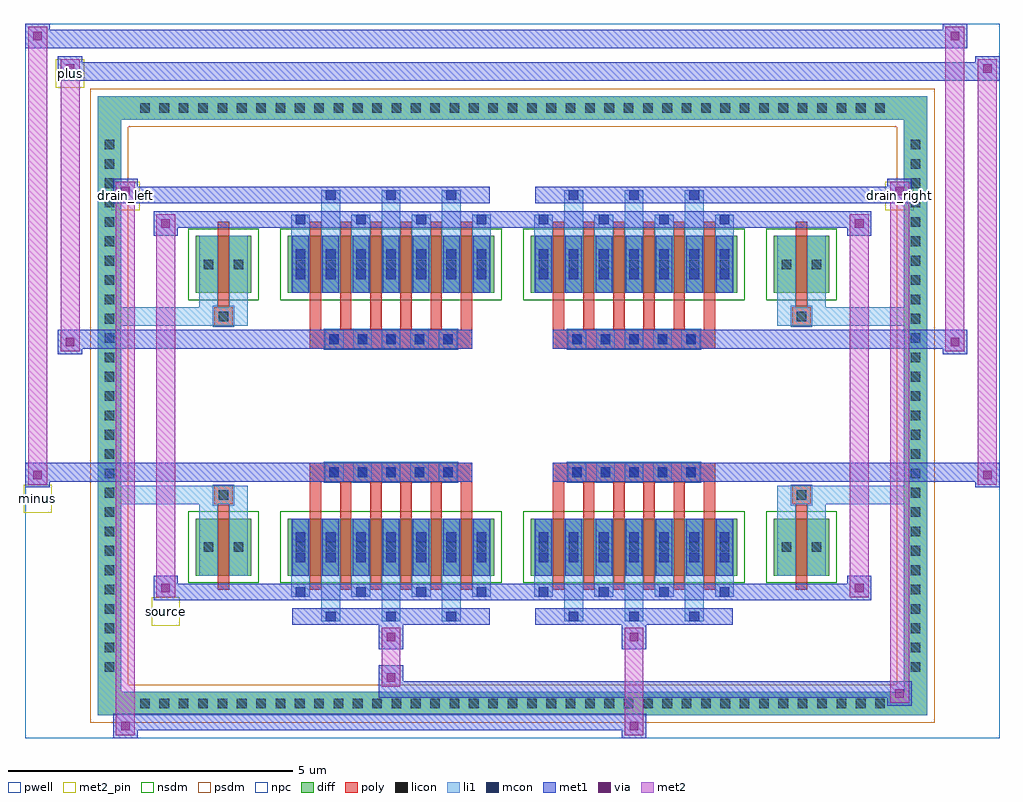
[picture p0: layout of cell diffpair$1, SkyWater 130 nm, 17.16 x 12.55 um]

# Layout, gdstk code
import gdstk
lib = gdstk.Library(unit=1e-6, precision=5e-09)
def R(c, l, rs):  # rectangles x0, y0, x1, y1
    for r in rs: c.add(gdstk.rectangle(r[:2], r[2:], *l))
def A(c, l, x, y, w, h, nx, ny, dx, dy):  # array of equal rectangles
    R(c, l, [(x+i*dx, y+j*dy, x+i*dx+w, y+j*dy+h) for i in range(nx) for j in range(ny)])
def P(c, l, *ps):  # polygons
    for p in ps: c.add(gdstk.Polygon(p, *l))
pwell = (64, 44)
diff = (65, 20)
poly = (66, 20)
licon = (66, 44)
li1 = (67, 20)
mcon = (67, 44)
met1 = (68, 20)
via = (68, 44)
met2_pin = (69, 16)
met2 = (69, 20)
nsdm = (93, 44)
psdm = (94, 20)
npc = (95, 20)

diffpair_1 = lib.new_cell('diffpair$1')
R(diffpair_1, pwell, [(-8.56,-5.84,8.56,6.71), (-5.88,-4.03,-0.01,-0.805), (0.01,-4.03,5.88,-0.805), (-5.88,0.805,-0.01,4.03), (0.01,0.805,5.88,4.03)])
A(diffpair_1, diff, -6.665, -5.44, 0.41, 0.41, 39, 2, 0.34, 10.47)
A(diffpair_1, diff, -7.29, -4.795, 0.41, 0.41, 1, 28, 0, 0.34)
A(diffpair_1, diff, 6.88, -4.795, 0.41, 0.41, 1, 28, 0, 0.34)
R(diffpair_1, diff, [(-6.665,-5.44,6.665,-5.03), (-7.29,-4.795,-6.88,4.795), (6.88,-4.795,7.29,4.795), (-5.57,-2.985,-4.59,-1.985), (-3.95,-2.985,-0.32,-1.985), (0.32,-2.985,3.95,-1.985), (4.59,-2.985,5.57,-1.985), (-5.57,1.985,-4.59,2.985), (-3.95,1.985,-0.32,2.985), (0.32,1.985,3.95,2.985), (4.59,1.985,5.57,2.985), (-6.665,5.03,6.665,5.44)])
P(diffpair_1, diff, [(7.29,5.44),(-7.29,5.44),(-7.29,-5.03),(-6.88,-5.03),(-6.88,5.03),(6.88,5.03),(6.88,-5.03),(-6.88,-5.03),(-7.29,-5.03),(-7.29,-5.44),(7.29,-5.44)])
A(diffpair_1, poly, -3.56, -3.235, 0.2, 1.5, 6, 2, 0.53, 4.97)
A(diffpair_1, poly, 0.71, -3.235, 0.2, 1.5, 6, 2, 0.53, 4.97)
A(diffpair_1, poly, -3.56, -1.735, 0.2, 0.4, 6, 2, 0.53, 3.07)
A(diffpair_1, poly, 0.71, -1.735, 0.2, 0.4, 6, 2, 0.53, 3.07)
A(diffpair_1, poly, -3.3, -1.335, 0.33, 0.33, 5, 2, 0.5, 2.34)
A(diffpair_1, poly, 0.97, -1.335, 0.33, 0.33, 5, 2, 0.5, 2.34)
R(diffpair_1, poly, [(-5.18,-3.235,-4.98,-1.735), (4.98,-3.235,5.18,-1.735), (-5.245,-1.735,-4.915,-1.405), (-5.245,-1.735,-4.915,-1.405), (4.915,-1.735,5.245,-1.405), (4.915,-1.735,5.245,-1.405), (-3.56,-1.335,-0.71,-1.005), (0.71,-1.335,3.56,-1.005), (-3.56,1.005,-0.71,1.335), (0.71,1.005,3.56,1.335), (-5.245,1.405,-4.915,1.735), (-5.245,1.405,-4.915,1.735), (4.915,1.405,5.245,1.735), (4.915,1.405,5.245,1.735), (-5.18,1.735,-4.98,3.235), (4.98,1.735,5.18,3.235)])
A(diffpair_1, licon, -6.545, -5.32, 0.17, 0.17, 39, 2, 0.34, 10.47)
A(diffpair_1, licon, -7.17, -4.675, 0.17, 0.17, 1, 28, 0, 0.34)
A(diffpair_1, licon, 7, -4.675, 0.17, 0.17, 1, 28, 0, 0.34)
A(diffpair_1, licon, -3.81, -2.57, 0.17, 0.17, 7, 2, 0.53, 4.97)
A(diffpair_1, licon, 0.46, -2.57, 0.17, 0.17, 7, 2, 0.53, 4.97)
A(diffpair_1, licon, -3.22, -1.255, 0.17, 0.17, 5, 2, 0.5, 2.34)
A(diffpair_1, licon, 1.05, -1.255, 0.17, 0.17, 5, 2, 0.5, 2.34)
R(diffpair_1, licon, [(-5.43,-2.57,-5.26,-2.4), (-4.9,-2.57,-4.73,-2.4), (4.73,-2.57,4.9,-2.4), (5.26,-2.57,5.43,-2.4), (-5.165,-1.655,-4.995,-1.485), (4.995,-1.655,5.165,-1.485), (-5.165,1.485,-4.995,1.655), (4.995,1.485,5.165,1.655), (-5.43,2.4,-5.26,2.57), (-4.9,2.4,-4.73,2.57), (4.73,2.4,4.9,2.57), (5.26,2.4,5.43,2.57)])
A(diffpair_1, li1, -6.625, -5.4, 0.33, 0.33, 39, 2, 0.34, 10.47)
A(diffpair_1, li1, -7.25, -4.755, 0.33, 0.33, 1, 28, 0, 0.34)
A(diffpair_1, li1, 6.92, -4.755, 0.33, 0.33, 1, 28, 0, 0.34)
A(diffpair_1, li1, -3.36, -3.79, 0.33, 0.805, 3, 2, 1.06, 6.775)
A(diffpair_1, li1, -3.28, -3.79, 0.17, 0.17, 3, 2, 1.06, 7.41)
A(diffpair_1, li1, 0.91, -3.79, 0.33, 0.805, 3, 2, 1.06, 6.775)
A(diffpair_1, li1, 0.99, -3.79, 0.17, 0.17, 3, 2, 1.06, 7.41)
A(diffpair_1, li1, -3.89, -3.36, 0.33, 0.375, 4, 2, 1.06, 6.345)
A(diffpair_1, li1, -3.81, -3.36, 0.17, 0.17, 4, 2, 1.06, 6.55)
A(diffpair_1, li1, 0.38, -3.36, 0.33, 0.375, 4, 2, 1.06, 6.345)
A(diffpair_1, li1, 0.46, -3.36, 0.17, 0.17, 4, 2, 1.06, 6.55)
A(diffpair_1, li1, -3.89, -2.985, 0.33, 1, 7, 2, 0.53, 4.97)
A(diffpair_1, li1, 0.38, -2.985, 0.33, 1, 7, 2, 0.53, 4.97)
A(diffpair_1, li1, -3.81, -2.75, 0.17, 0.17, 7, 2, 0.53, 0.36)
A(diffpair_1, li1, -3.81, -2.75, 0.17, 0.53, 7, 2, 0.53, 4.97)
A(diffpair_1, li1, 0.46, -2.75, 0.17, 0.17, 7, 2, 0.53, 0.36)
A(diffpair_1, li1, 0.46, -2.75, 0.17, 0.53, 7, 2, 0.53, 4.97)
A(diffpair_1, li1, -3.89, -2.65, 0.33, 0.33, 7, 2, 0.53, 4.97)
A(diffpair_1, li1, 0.38, -2.65, 0.33, 0.33, 7, 2, 0.53, 4.97)
A(diffpair_1, li1, -3.3, -1.335, 0.33, 0.33, 5, 2, 0.5, 2.34)
A(diffpair_1, li1, 0.97, -1.335, 0.33, 0.33, 5, 2, 0.5, 2.34)
A(diffpair_1, li1, -3.81, 2.22, 0.17, 0.17, 7, 2, 0.53, 0.36)
A(diffpair_1, li1, 0.46, 2.22, 0.17, 0.17, 7, 2, 0.53, 0.36)
R(diffpair_1, li1, [(-7.29,-5.44,-6.88,-5.03), (-7.29,-5.44,-6.88,-5.03), (-6.88,-5.44,6.88,-5.03), (6.88,-5.44,7.29,-5.03), (6.88,-5.44,7.29,-5.03), (-7.29,-5.03,-6.88,5.03), (6.88,-5.03,7.29,5.03), (-5.51,-2.985,-5.18,-1.985), (-4.98,-2.985,-4.65,-1.985), (4.65,-2.985,4.98,-1.985), (5.18,-2.985,5.51,-1.985), (-5.51,-2.65,-5.18,-2.32), (-4.98,-2.65,-4.65,-2.32), (4.65,-2.65,4.98,-2.32), (5.18,-2.65,5.51,-2.32), (-5.51,-1.985,-5.18,-1.405), (-4.98,-1.985,-4.65,-1.405), (4.65,-1.985,4.98,-1.405), (5.18,-1.985,5.51,-1.405), (-7.29,-1.735,-5.245,-1.405), (-5.51,-1.735,-5.245,-1.405), (-5.245,-1.735,-4.915,-1.405), (-4.915,-1.735,-4.65,-1.405), (4.65,-1.735,4.915,-1.405), (4.915,-1.735,5.245,-1.405), (4.915,-1.735,7.29,-1.405), (5.245,-1.735,5.51,-1.405), (-7.29,1.405,-5.245,1.735), (-5.51,1.405,-5.245,1.735), (-5.51,1.405,-5.18,1.985), (-5.245,1.405,-4.915,1.735), (-4.98,1.405,-4.65,1.985), (-4.915,1.405,-4.65,1.735), (4.65,1.405,4.915,1.735), (4.65,1.405,4.98,1.985), (4.915,1.405,5.245,1.735), (4.915,1.405,7.29,1.735), (5.18,1.405,5.51,1.985), (5.245,1.405,5.51,1.735), (-5.51,1.985,-5.18,2.985), (-4.98,1.985,-4.65,2.985), (4.65,1.985,4.98,2.985), (5.18,1.985,5.51,2.985), (-5.51,2.32,-5.18,2.65), (-4.98,2.32,-4.65,2.65), (4.65,2.32,4.98,2.65), (5.18,2.32,5.51,2.65), (-7.29,5.03,-6.88,5.44), (-7.29,5.03,-6.88,5.44), (-6.88,5.03,6.88,5.44), (6.88,5.03,7.29,5.44), (6.88,5.03,7.29,5.44)])
A(diffpair_1, mcon, -3.28, -3.79, 0.17, 0.17, 3, 2, 1.06, 7.41)
A(diffpair_1, mcon, 0.99, -3.79, 0.17, 0.17, 3, 2, 1.06, 7.41)
A(diffpair_1, mcon, -3.81, -3.36, 0.17, 0.17, 4, 2, 1.06, 6.55)
A(diffpair_1, mcon, 0.46, -3.36, 0.17, 0.17, 4, 2, 1.06, 6.55)
A(diffpair_1, mcon, -3.81, -2.75, 0.17, 0.17, 7, 2, 0.53, 0.36)
A(diffpair_1, mcon, 0.46, -2.75, 0.17, 0.17, 7, 2, 0.53, 0.36)
A(diffpair_1, mcon, -3.22, -1.255, 0.17, 0.17, 5, 2, 0.5, 2.34)
A(diffpair_1, mcon, 1.05, -1.255, 0.17, 0.17, 5, 2, 0.5, 2.34)
A(diffpair_1, mcon, -3.81, 2.22, 0.17, 0.17, 7, 2, 0.53, 0.36)
A(diffpair_1, mcon, 0.46, 2.22, 0.17, 0.17, 7, 2, 0.53, 0.36)
A(diffpair_1, met1, -3.34, -3.85, 0.29, 0.29, 3, 2, 1.06, 7.41)
A(diffpair_1, met1, 0.93, -3.85, 0.29, 0.29, 3, 2, 1.06, 7.41)
A(diffpair_1, met1, -3.87, -3.42, 0.29, 0.29, 4, 2, 1.06, 6.55)
A(diffpair_1, met1, 0.4, -3.42, 0.29, 0.29, 4, 2, 1.06, 6.55)
A(diffpair_1, met1, -3.87, -2.985, 0.29, 1, 7, 2, 0.53, 4.97)
A(diffpair_1, met1, 0.4, -2.985, 0.29, 1, 7, 2, 0.53, 4.97)
A(diffpair_1, met1, -3.87, -2.81, 0.29, 0.29, 7, 2, 0.53, 0.36)
A(diffpair_1, met1, 0.4, -2.81, 0.29, 0.29, 7, 2, 0.53, 0.36)
A(diffpair_1, met1, -3.28, -1.315, 0.29, 0.29, 5, 2, 0.5, 2.34)
A(diffpair_1, met1, 0.99, -1.315, 0.29, 0.29, 5, 2, 0.5, 2.34)
A(diffpair_1, met1, -3.87, 2.16, 0.29, 0.29, 7, 2, 0.53, 0.36)
A(diffpair_1, met1, 0.4, 2.16, 0.29, 0.29, 7, 2, 0.53, 0.36)
R(diffpair_1, met1, [(-7.02,-5.84,-6.59,-5.41), (1.92,-5.84,2.35,-5.41), (-7.02,-5.7,2.35,-5.41), (6.59,-5.27,7.02,-4.84), (-2.35,-5.13,7.02,-4.84), (-2.35,-4.99,-1.92,-4.56), (-2.35,-4.28,-1.92,-3.85), (1.92,-4.28,2.35,-3.85), (-3.87,-3.85,-0.4,-3.56), (0.4,-3.85,3.87,-3.56), (-6.31,-3.42,-5.88,-2.99), (-6.31,-3.42,-3.87,-3.13), (-3.87,-3.42,-0.4,-3.13), (-0.4,-3.42,0.4,-3.13), (0.4,-3.42,3.87,-3.13), (3.87,-3.42,6.31,-3.13), (5.88,-3.42,6.31,-2.99), (-8.56,-1.435,-8.13,-1.005), (8.13,-1.435,8.56,-1.005), (-8.56,-1.335,-0.71,-1.005), (-3.56,-1.335,-0.71,-1.005), (0.71,-1.335,3.56,-1.005), (0.71,-1.335,8.56,-1.005), (-7.99,0.905,-7.56,1.335), (7.56,0.905,7.99,1.335), (-7.99,1.005,-3.56,1.335), (-3.56,1.005,-0.71,1.335), (0.71,1.005,3.56,1.335), (3.56,1.005,7.99,1.335), (-6.31,2.99,-5.88,3.42), (5.88,2.99,6.31,3.42), (-6.31,3.13,-3.87,3.42), (-3.87,3.13,-0.4,3.42), (-0.4,3.13,0.4,3.42), (0.4,3.13,3.87,3.42), (3.87,3.13,6.31,3.42), (-7.02,3.56,-6.59,3.99), (-7.02,3.56,-3.87,3.85), (-3.87,3.56,-0.4,3.85), (0.4,3.56,3.87,3.85), (3.87,3.56,7.02,3.85), (6.59,3.56,7.02,3.99), (-7.99,5.71,-7.56,6.14), (-7.99,5.71,-5.88,6.04), (-5.88,5.71,5.88,6.04), (5.88,5.71,8.56,6.04), (8.13,5.71,8.56,6.14), (-8.56,6.28,-8.13,6.71), (-8.56,6.28,-5.88,6.61), (-5.88,6.28,5.88,6.61), (5.88,6.28,7.99,6.61), (7.56,6.28,7.99,6.71)])
R(diffpair_1, via, [(-6.88,-5.7,-6.73,-5.55), (2.06,-5.7,2.21,-5.55), (6.73,-5.13,6.88,-4.98), (-2.21,-4.85,-2.06,-4.7), (-2.21,-4.14,-2.06,-3.99), (2.06,-4.14,2.21,-3.99), (-6.17,-3.28,-6.02,-3.13), (6.02,-3.28,6.17,-3.13), (-8.42,-1.295,-8.27,-1.145), (8.27,-1.295,8.42,-1.145), (-7.85,1.045,-7.7,1.195), (7.7,1.045,7.85,1.195), (-6.17,3.13,-6.02,3.28), (6.02,3.13,6.17,3.28), (-6.88,3.7,-6.73,3.85), (6.73,3.7,6.88,3.85), (-7.85,5.85,-7.7,6), (8.27,5.85,8.42,6), (-8.42,6.42,-8.27,6.57), (7.7,6.42,7.85,6.57)])
R(diffpair_1, met2_pin, [(-6.345,-3.87,-5.845,-3.37), (-8.595,-1.885,-8.095,-1.385), (-7.055,3.44,-6.555,3.94), (6.555,3.44,7.055,3.94), (-8.025,5.59,-7.525,6.09)])
R(diffpair_1, met2, [(-6.97,-5.79,-6.64,-5.46), (-6.97,-5.79,-6.64,3.94), (1.97,-5.79,2.3,-5.46), (1.97,-5.46,2.3,-4.23), (6.64,-5.22,6.97,-4.89), (6.64,-5.22,6.97,3.94), (-2.3,-4.94,-1.97,-4.61), (-2.3,-4.61,-1.97,-4.23), (-2.3,-4.23,-1.97,-3.9), (1.97,-4.23,2.3,-3.9), (-6.26,-3.37,-5.93,-3.04), (-6.26,-3.37,-5.93,3.37), (5.93,-3.37,6.26,-3.04), (5.93,-3.37,6.26,3.37), (-8.51,-1.385,-8.18,-1.055), (-8.51,-1.385,-8.18,6.66), (8.18,-1.385,8.51,-1.055), (8.18,-1.385,8.51,6.09), (-7.94,0.955,-7.61,1.285), (-7.94,0.955,-7.61,6.09), (7.61,0.955,7.94,1.285), (7.61,0.955,7.94,6.66), (-6.26,3.04,-5.93,3.37), (5.93,3.04,6.26,3.37), (-6.97,3.61,-6.64,3.94), (6.64,3.61,6.97,3.94), (-7.94,5.76,-7.61,6.09), (8.18,5.76,8.51,6.09), (-8.51,6.33,-8.18,6.66), (7.61,6.33,7.94,6.66)])
P(diffpair_1, met2, [(8.51,-1.385),(8.51,-1.385),(8.51,-1.055),(8.51,-1.055)],
  [(8.51,5.76),(8.51,5.76),(8.51,6.09),(8.51,6.09)],
  [(-8.18,-1.385),(-8.18,-1.385),(-8.18,-1.055),(-8.18,-1.055)],
  [(-8.18,6.33),(-8.18,6.33),(-8.18,6.66),(-8.18,6.66)],
  [(7.94,0.955),(7.94,0.955),(7.94,1.285),(7.94,1.285)],
  [(7.94,6.33),(7.94,6.33),(7.94,6.66),(7.94,6.66)],
  [(-7.61,0.955),(-7.61,0.955),(-7.61,1.285),(-7.61,1.285)],
  [(-7.61,5.76),(-7.61,5.76),(-7.61,6.09),(-7.61,6.09)],
  [(-6.64,-5.79),(-6.64,-5.79),(-6.64,-5.46),(-6.64,-5.46)],
  [(-6.64,3.61),(-6.64,3.61),(-6.64,3.94),(-6.64,3.94)],
  [(6.97,-5.22),(6.97,-5.22),(6.97,-4.89),(6.97,-4.89)],
  [(6.97,3.61),(6.97,3.61),(6.97,3.94),(6.97,3.94)],
  [(-5.93,-3.37),(-5.93,-3.37),(-5.93,-3.04),(-5.93,-3.04)],
  [(-5.93,3.04),(-5.93,3.04),(-5.93,3.37),(-5.93,3.37)],
  [(6.26,-3.37),(6.26,-3.37),(6.26,-3.04),(6.26,-3.04)],
  [(6.26,3.04),(6.26,3.04),(6.26,3.37),(6.26,3.37)])
R(diffpair_1, nsdm, [(-5.7,-3.115,-4.46,-1.855), (-4.08,-3.115,-0.19,-1.855), (0.19,-3.115,4.08,-1.855), (4.46,-3.115,5.7,-1.855), (-5.7,1.855,-4.46,3.115), (-4.08,1.855,-0.19,3.115), (0.19,1.855,4.08,3.115), (4.46,1.855,5.7,3.115)])
P(diffpair_1, psdm, [(7.42,5.57),(-7.42,5.57),(-7.42,-4.9),(-6.75,-4.9),(-6.75,4.9),(6.75,4.9),(6.75,-4.9),(-6.75,-4.9),(-7.42,-4.9),(-7.42,-5.57),(7.42,-5.57)])
A(diffpair_1, npc, -3.32, -1.355, 0.37, 0.37, 5, 2, 0.5, 2.34)
A(diffpair_1, npc, 0.95, -1.355, 0.37, 0.37, 5, 2, 0.5, 2.34)
R(diffpair_1, npc, [(-5.265,-1.755,-4.895,-1.385), (4.895,-1.755,5.265,-1.385), (-3.32,-1.355,-2.45,-0.985), (-3.32,-1.355,-2.45,-0.985), (-2.82,-1.355,-1.95,-0.985), (-2.82,-1.355,-1.95,-0.985), (-2.32,-1.355,-1.45,-0.985), (-2.32,-1.355,-1.45,-0.985), (-1.82,-1.355,-0.95,-0.985), (-1.82,-1.355,-0.95,-0.985), (0.95,-1.355,1.82,-0.985), (0.95,-1.355,1.82,-0.985), (1.45,-1.355,2.32,-0.985), (1.45,-1.355,2.32,-0.985), (1.95,-1.355,2.82,-0.985), (1.95,-1.355,2.82,-0.985), (2.45,-1.355,3.32,-0.985), (2.45,-1.355,3.32,-0.985), (-3.32,0.985,-2.45,1.355), (-3.32,0.985,-2.45,1.355), (-2.82,0.985,-1.95,1.355), (-2.82,0.985,-1.95,1.355), (-2.32,0.985,-1.45,1.355), (-2.32,0.985,-1.45,1.355), (-1.82,0.985,-0.95,1.355), (-1.82,0.985,-0.95,1.355), (0.95,0.985,1.82,1.355), (0.95,0.985,1.82,1.355), (1.45,0.985,2.32,1.355), (1.45,0.985,2.32,1.355), (1.95,0.985,2.82,1.355), (1.95,0.985,2.82,1.355), (2.45,0.985,3.32,1.355), (2.45,0.985,3.32,1.355), (-5.265,1.385,-4.895,1.755), (4.895,1.385,5.265,1.755)])
diffpair_1.add(gdstk.Label('minus', (-8.345,-1.635), layer=69, texttype=5))
diffpair_1.add(gdstk.Label('drain_right', (6.805,3.69), layer=69, texttype=5))
diffpair_1.add(gdstk.Label('drain_left', (-6.805,3.69), layer=69, texttype=5))
diffpair_1.add(gdstk.Label('source', (-6.095,-3.62), layer=69, texttype=5))
diffpair_1.add(gdstk.Label('plus', (-7.775,5.84), layer=69, texttype=5))

lib.write_gds('diffpair_1.gds')
